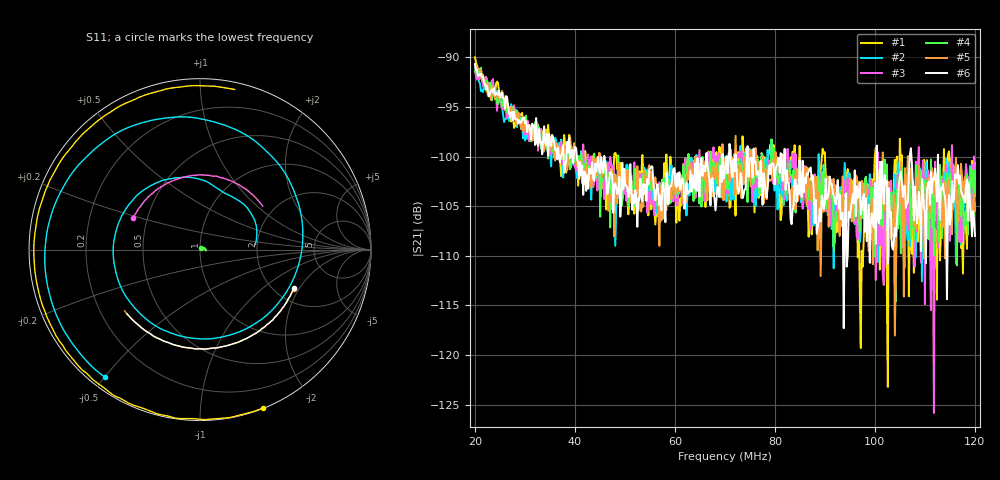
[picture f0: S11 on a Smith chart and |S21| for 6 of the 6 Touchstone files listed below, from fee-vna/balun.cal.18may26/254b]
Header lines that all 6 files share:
! Anritsu VNA Master:  Model: MS2036C/10/77
! SN:  1601066
! Existing Calibration Information:
! TYPE:  Current Settings,  Active Cal Settings
! # POINTS:  500,  500
! START FREQ:  20.000 MHz,  20.000 MHz
! STOP FREQ:  120.000 MHz,  120.000 MHz
! SOURCE POWER:  High,  High
! IFBW:  50 Hz,  50 Hz
! AVG FACTOR:  1 ,  1
! REF PLANE 1:  0 mm,  0 mm
! REF PLANE 2:  0 mm,  0 mm
! CAL TYPE:  Full S11,  Full S11
! CAL METHOD:  SOLT,  SOLT
! CAL LINE TYPE:  Coax,  Coax
! DUT PORT 1:  K-Conn(M),  K-Conn(M)
! DUT PORT 2:  K-Conn(M),  K-Conn(M)
! CAL STATUS:  OK: Accuracy High,  --
# GHZ S DB R 50.0
! FREQ.GHZ  S11DB  S11A  S21DB  S21A  S12DB  S12A  S22DB  S22A
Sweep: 20 MHz to 120 MHz
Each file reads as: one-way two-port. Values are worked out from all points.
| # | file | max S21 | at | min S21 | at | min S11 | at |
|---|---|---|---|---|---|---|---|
| 1 | 4b.66.2-3.s2p | -89.99 dB | 20 MHz | -123.2 dB | 102.6 MHz | -0.4 dB | 117.6 MHz |
| 2 | 4b.m.1-2.s2p | -90.73 dB | 20 MHz | -112.6 dB | 109.4 MHz | -9.8 dB | 120 MHz |
| 3 | 4b.r20.2-3.s2p | -91.39 dB | 20 MHz | -125.8 dB | 111.8 MHz | -7.3 dB | 28.82 MHz |
| 4 | 4b.r50.2-3.s2p | -91.06 dB | 21.2 MHz | -114.6 dB | 104.2 MHz | -39.0 dB | 21.6 MHz |
| 5 | 4b.r200.1-2.s2p | -90.72 dB | 20 MHz | -118.0 dB | 104 MHz | -4.9 dB | 119.8 MHz |
| 6 | 4b.r200.2-3.s2p | -90.68 dB | 20 MHz | -117.3 dB | 93.75 MHz | -4.9 dB | 120 MHz |
